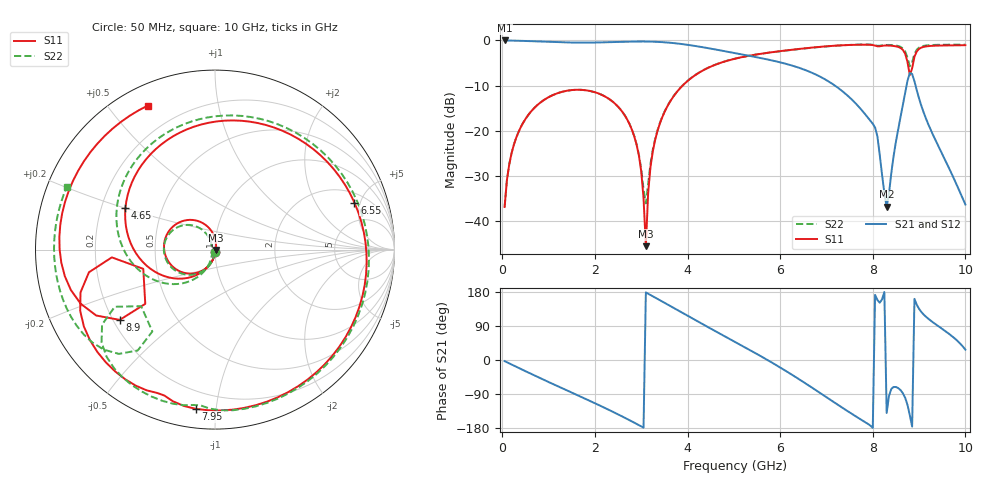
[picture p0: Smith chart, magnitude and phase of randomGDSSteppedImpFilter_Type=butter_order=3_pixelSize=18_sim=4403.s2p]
! freq	dB(S11)	phase(S11)	dB(S12)	phase(S12)
!  dB(S21)	phase(S21)	dB(S22)	phase(S22)
!S-par simulation data
#  GHz  S  DB  R 50
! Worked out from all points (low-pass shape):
!   200 points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, 50 MHz to 10 GHz, reference 50 ohm
!   highest |S21| = -0.01 dB at 50 MHz (marker M1); lowest = -36.8 dB at 8.3 GHz (marker M2)
!   |S21| within 3 dB of the highest: start of sweep to 5.13 GHz
!   lowest |S11| = -45.5 dB at 3.1 GHz (marker M3), VSWR 1.01, Z = 50.5 - j0.175 ohm
!   |S11| at or under -10 dB: start of sweep to 3.892 GHz
!   |S22| runs from -36.8 to -0.9 dB; largest |S21 - S12| = 0
!   S11 on the Smith chart (normalised r, x): 50 MHz: 1.00, -0.03; 4.65 GHz: 0.30, +0.20; 6.55 GHz: 2.77, +4.43; 7.95 GHz: 0.10, -0.88; 8.9 GHz: 0.23, -0.31; 10 GHz: 0.09, +0.63
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0.05  -36.82 -92.6  -0.01 -3.0  -0.01 -3.0  -36.82 -92.4
0.2  -24.94 -102.3  -0.03 -11.9  -0.03 -11.9  -24.94 -101.7
0.5  -17.37 -120.8  -0.12 -29.5  -0.12 -29.5  -17.37 -119.1
1.75  -10.95 166.2  -0.49 -99.9  -0.49 -99.9  -10.95 173.0
2.8  -19.76 100.2  -0.26 -162.2  -0.26 -162.2  -19.73 119.0
3  -28.93 81.5  -0.24 -175.1  -0.24 -175.1  -28.39 122.3
3.1  -45.48 -19.0  -0.24 178.3  -0.24 178.3  -36.03 -171.1
3.2  -27.99 -96.8  -0.26 171.6  -0.26 171.6  -27.27 -116.0
3.4  -18.45 -115.6  -0.34 158.0  -0.34 158.0  -18.31 -115.2
4.65  -5.18 154.9  -2.09 72.9  -2.09 72.9  -5.16 169.2
5.05  -3.98 127.5  -2.85 46.3  -2.85 46.3  -3.97 143.7
5.85  -2.57 71.4  -4.48 -8.8  -4.48 -8.8  -2.58 89.6
6.55  -1.73 18.6  -6.57 -61.9  -6.57 -61.9  -1.75 35.1
6.7  -1.57 6.8  -7.21 -73.9  -7.21 -73.9  -1.60 22.5
7.25  -1.12 -38.0  -10.48 -118.5  -10.48 -118.5  -1.13 -24.9
7.95  -0.98 -96.8  -17.77 -173.4  -17.77 -173.4  -0.91 -83.7
8.3  -1.12 -124.8  -36.76 -139.7  -36.76 -139.7  -0.99 -109.2
8.35  -1.13 -129.4  -33.87 -94.9  -33.87 -94.9  -0.99 -113.3
8.75  -4.78 -175.7  -8.90 -118.6  -8.90 -118.6  -3.84 -150.3
8.9  -3.61 -143.6  -9.05 161.3  -9.05 161.3  -3.00 -127.5
9.3  -1.18 170.9  -20.86 99.4  -20.86 99.4  -1.00 -161.8
10  -1.06 115.0  -36.27 27.3  -36.27 27.3  -0.95 157.2
